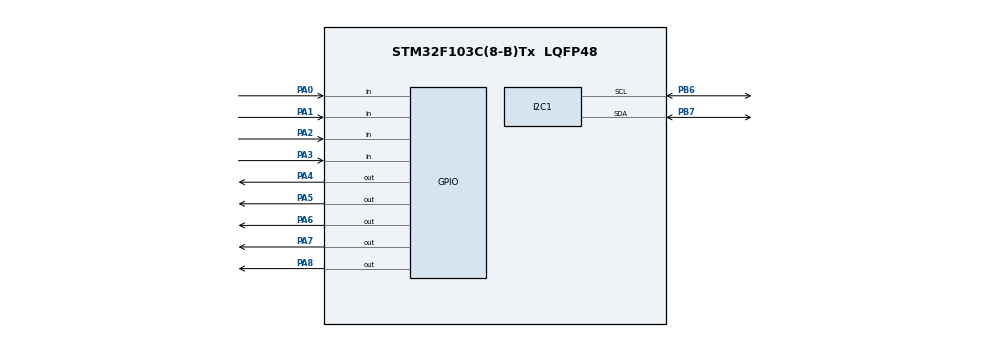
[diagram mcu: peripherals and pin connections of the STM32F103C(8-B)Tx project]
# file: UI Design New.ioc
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I2C1.I2C_Mode=I2C_Fast
Mcu.Family=STM32F1
Mcu.Name=STM32F103C(8-B)Tx
Mcu.Package=LQFP48
NVIC.PriorityGroup=NVIC_PRIORITYGROUP_4
NVIC.TIM2_IRQn=true\:0\:0\:false\:false\:true\:true\:true
PA0-WKUP.GPIO_PuPd=GPIO_PULLDOWN
PA0-WKUP.Signal=GPIO_Input
PA1.GPIO_PuPd=GPIO_PULLDOWN
PA1.Signal=GPIO_Input
PA13.Mode=Serial_Wire
PA13.Signal=SYS_JTMS-SWDIO
PA14.Mode=Serial_Wire
PA14.Signal=SYS_JTCK-SWCLK
PA2.GPIO_PuPd=GPIO_PULLDOWN
PA2.Signal=GPIO_Input
PA3.GPIO_PuPd=GPIO_PULLDOWN
PA3.Signal=GPIO_Input
PA4.GPIO_Speed=GPIO_SPEED_FREQ_MEDIUM
PA4.Signal=GPIO_Output
PA5.GPIO_Speed=GPIO_SPEED_FREQ_MEDIUM
PA5.Signal=GPIO_Output
PA6.GPIO_Speed=GPIO_SPEED_FREQ_MEDIUM
PA6.Signal=GPIO_Output
PA7.GPIO_Speed=GPIO_SPEED_FREQ_MEDIUM
PA7.Signal=GPIO_Output
PA8.Signal=GPIO_Output
PB6.Mode=I2C
PB6.Signal=I2C1_SCL
PB7.Mode=I2C
PB7.Signal=I2C1_SDA
PD0-OSC_IN.Mode=HSE-External-Oscillator
PD0-OSC_IN.Signal=RCC_OSC_IN
PD1-OSC_OUT.Mode=HSE-External-Oscillator
PD1-OSC_OUT.Signal=RCC_OSC_OUT
ProjectManager.HeapSize=0x200
ProjectManager.StackSize=0x400
ProjectManager.TargetToolchain=STM32CubeIDE
RCC.AHBFreq_Value=72000000
RCC.APB1CLKDivider=RCC_HCLK_DIV2
RCC.APB1Freq_Value=36000000
RCC.APB1TimFreq_Value=72000000
RCC.APB2Freq_Value=72000000
RCC.APB2TimFreq_Value=72000000
RCC.HCLKFreq_Value=72000000
RCC.PLLMUL=RCC_PLL_MUL9
RCC.PLLSourceVirtual=RCC_PLLSOURCE_HSE
RCC.SYSCLKFreq_VALUE=72000000
RCC.SYSCLKSource=RCC_SYSCLKSOURCE_PLLCLK
RCC.USBFreq_Value=72000000
TIM2.AutoReloadPreload=TIM_AUTORELOAD_PRELOAD_ENABLE
TIM2.Period=360
TIM2.Prescaler=1000
VP_TIM2_VS_ClockSourceINT.Mode=Internal
board=custom

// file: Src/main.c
/* USER CODE BEGIN Header */
/**
 ******************************************************************************
* File: main.c
* Author: Devinda Srinath
* Description: UI design using OLED display and 4x4 keypad
* Created on February 18, 2022, 10:20 PM
 ******************************************************************************
 * @attention
 *
 * Copyright (c) 2022 STMicroelectronics.
 * All rights reserved.
 *
 * This software is licensed under terms that can be found in the LICENSE file
 * in the root directory of this software component.
 * If no LICENSE file comes with this software, it is provided AS-IS.
 *
 ******************************************************************************
 */
/* USER CODE END Header */
#include <crd_cs_counter.h>
#include <crdcs_pq_adder.h>
#include <crdcs_pq_keypad.h>
#include <crdcs_pq_timer.h>
#include "main.h"

/* USER CODE BEGIN Includes */
#include <stdio.h>

#include "crdcs_pq_fonts.h"
#include "crdcs_pq_ssd1306.h"
#include "crdcs_pq_main_menu.h"
/* USER CODE END Includes */

I2C_HandleTypeDef hi2c1;

TIM_HandleTypeDef htim2;

/* USER CODE BEGIN PV */

uint8_t g_key_states_arr[KEYS] =
{ 0 };

// keypad timer interrupt varaibles
volatile uint16_t g_sys_ticks = 0;
volatile uint16_t g_trigger_level = 10;

const keypad_cfgtype_t g_keypad_cfgparam_ext =
// KeyPAD Configurations
		{
		/* ROWs Pins Info */
		{ GPIOA, GPIOA, GPIOA, GPIOA },
		{ GPIO_PIN_0, GPIO_PIN_1, GPIO_PIN_2, GPIO_PIN_3 },
		/* COLs Pins */
		{ GPIOA, GPIOA, GPIOA, GPIOA },
		{ GPIO_PIN_4, GPIO_PIN_5, GPIO_PIN_6, GPIO_PIN_7 } };

button_value_map_t g_keypad_val;

/* USER CODE END PV */

void SystemClock_Config (void);
static void MX_GPIO_Init (void);
static void MX_I2C1_Init (void);
static void MX_TIM2_Init (void);

int main (void)
{

	/* MCU Configuration--------------------------------------------------------*/

	/* Reset of all peripherals, Initializes the Flash interface and the Systick. */
	HAL_Init();

	/* Configure the system clock */
	SystemClock_Config();

	/* Initialize all configured peripherals */
	MX_GPIO_Init();
	MX_I2C1_Init();
	MX_TIM2_Init();
	/* USER CODE BEGIN 2 */
	SSD1306_Init();
	keypad_init(g_key_states_arr, g_keypad_cfgparam_ext, &g_keypad_val);
	HAL_TIM_Base_Start_IT(&htim2);
	menu_init(g_key_states_arr, &g_keypad_val);
	adder_init(g_key_states_arr, &g_keypad_val);
	counter_init(g_key_states_arr, &g_keypad_val);
	timer_init(g_key_states_arr, &g_keypad_val);
	/* USER CODE END 2 */

	/* Infinite loop */
	/* USER CODE BEGIN WHILE */

	while (1)
	{
		/* This switch block handeling the ui interface by swithcing between modes of
		 * operations. We can run this block using timer interrupt for more efficent.
		 */
		switch (current_mode)
		{
			case (MAIN_MENU):
				menu_select();
				break;
			case (ADDER):
				adder();
				break;
			case (COUNTER):
				counter();
				break;
			case (TIMER):
				timer();
				break;
			default:
				break;
		}

		/* USER CODE END WHILE */

	}
}

void SystemClock_Config (void)
{
	RCC_OscInitTypeDef RCC_OscInitStruct =
	{ 0 };
	RCC_ClkInitTypeDef RCC_ClkInitStruct =
	{ 0 };

	/** Initializes the RCC Oscillators according to the specified parameters
	 * in the RCC_OscInitTypeDef structure.
	 */
	RCC_OscInitStruct.OscillatorType = RCC_OSCILLATORTYPE_HSE;
	RCC_OscInitStruct.HSEState = RCC_HSE_ON;
	RCC_OscInitStruct.HSEPredivValue = RCC_HSE_PREDIV_DIV1;
	RCC_OscInitStruct.HSIState = RCC_HSI_ON;
	RCC_OscInitStruct.PLL.PLLState = RCC_PLL_ON;
	RCC_OscInitStruct.PLL.PLLSource = RCC_PLLSOURCE_HSE;
	RCC_OscInitStruct.PLL.PLLMUL = RCC_PLL_MUL9;

	if (HAL_RCC_OscConfig(&RCC_OscInitStruct) != HAL_OK)
	{
		Error_Handler();
	}

	/** Initializes the CPU, AHB and APB buses clocks
	 */
	RCC_ClkInitStruct.ClockType = RCC_CLOCKTYPE_HCLK | RCC_CLOCKTYPE_SYSCLK
			| RCC_CLOCKTYPE_PCLK1 | RCC_CLOCKTYPE_PCLK2;
	RCC_ClkInitStruct.SYSCLKSource = RCC_SYSCLKSOURCE_PLLCLK;
	RCC_ClkInitStruct.AHBCLKDivider = RCC_SYSCLK_DIV1;
	RCC_ClkInitStruct.APB1CLKDivider = RCC_HCLK_DIV2;
	RCC_ClkInitStruct.APB2CLKDivider = RCC_HCLK_DIV1;

	if (HAL_RCC_ClockConfig(&RCC_ClkInitStruct, FLASH_LATENCY_2) != HAL_OK)
	{
		Error_Handler();
	}

}

static void MX_I2C1_Init (void)
{

	hi2c1.Instance = I2C1;
	hi2c1.Init.ClockSpeed = 400000;
	hi2c1.Init.DutyCycle = I2C_DUTYCYCLE_2;
	hi2c1.Init.OwnAddress1 = 0;
	hi2c1.Init.AddressingMode = I2C_ADDRESSINGMODE_7BIT;
	hi2c1.Init.DualAddressMode = I2C_DUALADDRESS_DISABLE;
	hi2c1.Init.OwnAddress2 = 0;
	hi2c1.Init.GeneralCallMode = I2C_GENERALCALL_DISABLE;
	hi2c1.Init.NoStretchMode = I2C_NOSTRETCH_DISABLE;

	if (HAL_I2C_Init(&hi2c1) != HAL_OK)
	{
		Error_Handler();
	}

}

static void MX_TIM2_Init (void)
{

	TIM_ClockConfigTypeDef sClockSourceConfig =
	{ 0 };
	TIM_MasterConfigTypeDef sMasterConfig =
	{ 0 };

	htim2.Instance = TIM2;
	htim2.Init.Prescaler = 1000;
	htim2.Init.CounterMode = TIM_COUNTERMODE_UP;
	htim2.Init.Period = 360;
	htim2.Init.ClockDivision = TIM_CLOCKDIVISION_DIV1;
	htim2.Init.AutoReloadPreload = TIM_AUTORELOAD_PRELOAD_ENABLE;

	if (HAL_TIM_Base_Init(&htim2) != HAL_OK)
	{
		Error_Handler();
	}

	sClockSourceConfig.ClockSource = TIM_CLOCKSOURCE_INTERNAL;

	if (HAL_TIM_ConfigClockSource(&htim2, &sClockSourceConfig) != HAL_OK)
	{
		Error_Handler();
	}

	sMasterConfig.MasterOutputTrigger = TIM_TRGO_RESET;
	sMasterConfig.MasterSlaveMode = TIM_MASTERSLAVEMODE_DISABLE;

	if (HAL_TIMEx_MasterConfigSynchronization(&htim2, &sMasterConfig) != HAL_OK)
	{
		Error_Handler();
	}

}

static void MX_GPIO_Init (void)
{
	GPIO_InitTypeDef GPIO_InitStruct =
	{ 0 };

	/* GPIO Ports Clock Enable */
	__HAL_RCC_GPIOD_CLK_ENABLE();
	__HAL_RCC_GPIOA_CLK_ENABLE();
	__HAL_RCC_GPIOB_CLK_ENABLE();

	/*Configure GPIO pin Output Level */
	HAL_GPIO_WritePin(GPIOA,
	GPIO_PIN_4 | GPIO_PIN_5 | GPIO_PIN_6 | GPIO_PIN_7 | GPIO_PIN_8,
			GPIO_PIN_RESET);

	/*Configure GPIO pins : PA0 PA1 PA2 PA3 */
	GPIO_InitStruct.Pin = GPIO_PIN_0 | GPIO_PIN_1 | GPIO_PIN_2 | GPIO_PIN_3;
	GPIO_InitStruct.Mode = GPIO_MODE_INPUT;
	GPIO_InitStruct.Pull = GPIO_PULLDOWN;
	HAL_GPIO_Init(GPIOA, &GPIO_InitStruct);

	/*Configure GPIO pins : PA4 PA5 PA6 PA7 */
	GPIO_InitStruct.Pin = GPIO_PIN_4 | GPIO_PIN_5 | GPIO_PIN_6 | GPIO_PIN_7;
	GPIO_InitStruct.Mode = GPIO_MODE_OUTPUT_PP;
	GPIO_InitStruct.Pull = GPIO_NOPULL;
	GPIO_InitStruct.Speed = GPIO_SPEED_FREQ_MEDIUM;
	HAL_GPIO_Init(GPIOA, &GPIO_InitStruct);

	/*Configure GPIO pin : PA8 */
	GPIO_InitStruct.Pin = GPIO_PIN_8;
	GPIO_InitStruct.Mode = GPIO_MODE_OUTPUT_PP;
	GPIO_InitStruct.Pull = GPIO_NOPULL;
	GPIO_InitStruct.Speed = GPIO_SPEED_FREQ_LOW;
	HAL_GPIO_Init(GPIOA, &GPIO_InitStruct);

}

/* USER CODE BEGIN 4 */

void HAL_TIM_PeriodElapsedCallback (TIM_HandleTypeDef *htim)
{
	g_sys_ticks++;

	if (g_sys_ticks == g_trigger_level) // Each 5msec checking button state
	{
		keypad_scan();

		/* When button pressed stop checking for some time(to avoid debouncing errors).
		 * WARNING:the trigger level values are set according to the human sensitivity,
		 * changing these values causing unpredectable results due to debounsing.
		 */

		for (uint8_t i = 0; i <= 15; i++)
		{
			if (g_key_states_arr[i] == 1)
			{
				g_trigger_level = 50;
				break;
			}
			g_trigger_level = 5;
		}

		g_sys_ticks = 0;
	}

	/* This fucntion used for timer feature. */
	timer_ticks_increment();

}

/* USER CODE END 4 */

void Error_Handler (void)
{
	__disable_irq();
	while (1)
	{
	}
}
